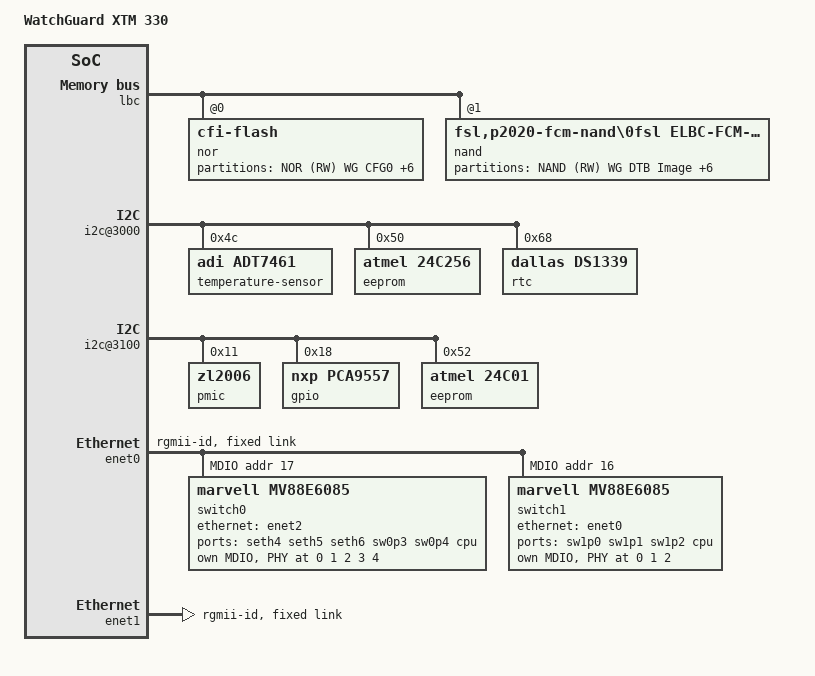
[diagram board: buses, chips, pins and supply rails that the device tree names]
// SPDX-License-Identifier: GPL-2.0-or-later

/dts-v1/;

/include/ "fsl/p2020si-pre.dtsi"

#include <dt-bindings/gpio/gpio.h>
#include <dt-bindings/input/input.h>

/ {
	model = "WatchGuard XTM 330";
	compatible = "fsl,P2020RDB";

	aliases {
		ethernet0 = &enet0;
		ethernet1 = &enet1;
		ethernet2 = &enet2;
		serial0 = &serial0;
		serial1 = &serial1;
		pci0 = &pci0;
		pci1 = &pci1;
	};

	memory {
		device_type = "memory";
	};

	lbc: localbus@ffe05000 {
		reg = <0 0xffe05000 0 0x1000>;

		/* NOR and NAND Flashes */
		ranges = <0x00 0x00 0x00 0xefe00000 0x200000 0x01 0x00 0x00 
			0xffa00000 0x40000>;

		nor@0,0 {
			#address-cells = <0x01>;
			#size-cells = <0x01>;
			
			compatible = "cfi-flash";
			reg = <0x00 0x00 0x200000>;
			bank-width = <0x02>;
			device-width = <0x01>;

			partition@00000000 {
				reg = <0x00 0x20000>;
				label = "NOR (RW) WG CFG0";
			};

			partition@00020000 {
				reg = <0x20000 0x10000>;
				label = "NOR (RW) WG CFG1";
			};

			partition@00030000 {
				reg = <0x30000 0x10000>;
				label = "NOR (RW) WG MFG DATA";
			};

			partition@00040000 {
				reg = <0x40000 0xb0000>;
				label = "NOR (RW) WG bootOpt Data & reserved";
			};

			partition@000F0000 {
				reg = <0xf0000 0x10000>;
				label = "NOR (RW) WG U-Boot ENV";
			};

			partition@00100000 {
				reg = <0x100000 0x80000>;
				label = "NOR (RW) WG U-Boot Image";
			};

			partition@00180000 {
				reg = <0x180000 0x80000>;
				label = "NOR (RW) WG U-Boot FAILSAFE";
			};
		};

		nand@1,0 {
			#address-cells = <0x01>;
			#size-cells = <0x01>;
			compatible = "fsl,p2020-fcm-nand\0fsl,elbc-fcm-nand";
			reg = <0x01 0x00 0x40000>;
			nand-ecc-mode = "none";
			nand-ecc-step-size = <512>;
			nand-ecc-strength  = <16>;

			partition@00000000 {
				reg = <0x00 0x20000>;
				label = "NAND (RW) WG DTB Image";
			};

			partition@00020000 {
				reg = <0x20000 0x500000>;
				label = "NAND (RW) WG SYSA Kernel";
			};

			partition@00520000 {
				reg = <0x520000 0x79e0000>;
				label = "NAND (RW) WG SYSA_CODE";
			};

			partition@07f00000 {
				reg = <0x7f00000 0x16000000>;
				label = "NAND (RW) WG SYSA_DATA";
			};

			partition@1df00000 {
				reg = <0x1df00000 0x500000>;
				label = "NAND (RW) WG SYSB Kernel";
			};

			partition@1e400000 {
				reg = <0x1e400000 0x1800000>;
				label = "NAND (RW) WG SYSB_CODE";
			};

			partition@1fc00000 {
				reg = <0x1fc00000 0x400000>;
				label = "NAND (RW) WG KDUMP";
			};
		};
	};

	soc: soc@ffe00000 {
		ranges = <0x0 0x0 0xffe00000 0x100000>;

		gpio0: gpio-controller@fc00 {
		};

		i2c@3000 {
			temperature-sensor@4c {
				compatible = "adi,adt7461";
				reg = <0x4c>;
			};

			eeprom@50 {
				compatible = "atmel,24c256";
				reg = <0x50>;
			};

			rtc@68 {
				compatible = "dallas,ds1339";
				reg = <0x68>;
			};
		};

		i2c@3100 {
			pmic@11 {
				compatible = "zl2006";
				reg = <0x11>;
			};

			gpio@18 {
				compatible = "nxp,pca9557";
				reg = <0x18>;
			};

			eeprom@52 {
				compatible = "atmel,24c01";
				reg = <0x52>;
			};
		};
		
		enet0: ethernet@24000 {
			#address-cells = <0x01>;
			#size-cells = <0x01>;
			cell-index = <0x00>;
			device_type = "network";
			model = "eTSEC";
			compatible = "gianfar";
			reg = <0x24000 0x1000>;
			ranges = <0x00 0x24000 0x1000>;
			phy-connection-type = "rgmii-id";
			fsl,magic-packet;
			
			fixed-link {
				speed = <1000>;
				full-duplex;
			};

			mdio@520 {
				#address-cells = <0x01>;
				#size-cells = <0x00>;
				compatible = "fsl,gianfar-mdio";
				reg = <0x520 0x20>;

				switch0: phy0: ethernet-phy@0 {
					compatible = "marvell,mv88e6085";
					reg = <0x11>;
					
					dsa,member = <0 0>;
					
					mdio {
						#address-cells = <1>;
						#size-cells = <0>;
	 
						switch0phy0: switch0phy0@0 {
							reg = <0x00>;
							interrupt-parent = <&switch0>;
						};
	 
						switch0phy1: switch0phy1@1 {
							reg = <0x01>;
							interrupt-parent = <&switch0>;
						};
	 
						 switch0phy2: switch0phy2@2 {
							reg = <0x02>;
							interrupt-parent = <&switch0>;
						 };

						 switch0phy3: switch0phy3@3 {
							reg = <0x03>;
							interrupt-parent = <&switch0>;
						 };

						 switch0phy4: switch0phy4@4 {
							reg = <0x04>;
							interrupt-parent = <&switch0>;
						 };
					};
					
					ports {
						port@0 {
							reg = <0>;
							label = "seth4";
							phy-handle = <&switch0phy0>;
						};

						port@1 {
							reg = <1>;
							label = "seth5";
							phy-handle = <&switch0phy1>;
						};

						port@2 {
							reg = <2>;
							label = "seth6";
							phy-handle = <&switch0phy2>;
						};

						port@3 {
							reg = <3>;
							label = "sw0p3";
							phy-handle = <&switch0phy3>;
						};

						port@4 {
							reg = <4>;
							label = "sw0p4";
							phy-handle = <&switch0phy4>;
						};

						switch0port6: port@6 {
							reg = <6>;
							label = "cpu";
							ethernet = <&enet2>;
							phy-mode = "rgmii-id";
							fixed-link {
								speed = <1000>;
								full-duplex;
							};
						};
					};
				};

				switch1: phy1: ethernet-phy@1 {
					compatible = "marvell,mv88e6085";
					reg = <0x10>;

					dsa,member = <1 0>;

					mdio {
						#address-cells = <1>;
						#size-cells = <0>;

						switch1phy0: switch1phy0@0 {
							reg = <0x00>;
							interrupt-parent = <&switch1>;
						};

						switch1phy1: switch1phy1@1 {
							reg = <0x01>;
							interrupt-parent = <&switch1>;
						};

						switch1phy2: switch1phy2@2 {
							reg = <0x02>;
							interrupt-parent = <&switch1>;
						};
					};

					ports {
						port@0 {
							reg = <0>;
							label = "sw1p0";
							phy-handle = <&switch1phy0>;
						};

						port@1 {
							reg = <1>;
							label = "sw1p1";
							phy-handle = <&switch1phy1>;
						};

						port@2 {
							reg = <2>;
							label = "sw1p2";
							phy-handle = <&switch1phy2>;
						};

						switch1port6: port@6 {
							reg = <6>;
							label = "cpu";
							ethernet = <&enet0>;
							phy-mode = "rgmii-td";
							fixed-link {
								speed = <1000>;
								full-duplex;
							};
						};
					};
				};
			};
		};
		
		ethernet@25000 {
			status = "disabled";
		};

		enet1: enet2: ethernet@26000 {
			#address-cells = <0x01>;
			#size-cells = <0x01>;
			cell-index = <0x02>;
			device_type = "network";
			model = "eTSEC";
			compatible = "gianfar";
			reg = <0x26000 0x1000>;
			ranges = <0x00 0x26000 0x1000>;
			phy-connection-type = "rgmii-id";
			fsl,magic-packet;
			fixed-link {
				speed = <1000>;
				full-duplex;
			};
		};

		usb@22000 {
			phy_type = "ulpi";
			dr_mode = "host";
		};

		ptp_clock@24e00 {
			fsl,tclk-period = <5>;
			fsl,tmr-prsc = <200>;
			fsl,tmr-add = <0xCCCCCCCD>;
			fsl,tmr-fiper1 = <0x3B9AC9FB>;
			fsl,tmr-fiper2 = <0x0001869B>;
			fsl,max-adj = <249999999>;
		};
		
		pic@40000 {
			interrupt-controller;
			#address-cells = <0x00>;
			#interrupt-cells = <0x04>;
			reg = <0x40000 0x40000>;
			compatible = "fsl,mpic";
			device_type = "open-pic";
			big-endian;
			single-cpu-affinity;
			last-interrupt-source = <0xff>;
			linux,phandle = <0x01>;
			phandle = <0x01>;
		};
		
		timer@41100 {
			compatible = "fsl,mpic-global-timer";
			reg = <0x41100 0x100 0x41300 0x04>;
			interrupts = <0x00 0x00 0x03 0x00 0x01 0x00 0x03 0x00 0x02 0x00 0x03 0x00 0x03 0x00 0x03 0x00>;
		};
		
		timer@42100 {
			compatible = "fsl,mpic-global-timer";
			reg = <0x42100 0x100 0x42300 0x04>;
			interrupts = <0x04 0x00 0x03 0x00 0x05 0x00 0x03 0x00 0x06 0x00 0x03 0x00 0x07 0x00 0x03 0x00>;
		};
	};

	pci0: pcie@ffe08000 {
		reg = <0 0xffe08000 0 0x1000>;
		status = "disabled";
	};

	pci1: pcie@ffe09000 {
		reg = <0 0xffe09000 0 0x1000>;
		ranges = <0x2000000 0x0 0xa0000000 0 0xa0000000 0x0 0x20000000
			  0x1000000 0x0 0x00000000 0 0xffc10000 0x0 0x10000>;
		pcie@0 {
			ranges = <0x2000000 0x0 0xa0000000
				  0x2000000 0x0 0xa0000000
				  0x0 0x20000000

				  0x1000000 0x0 0x0
				  0x1000000 0x0 0x0
				  0x0 0x100000>;
		};
	};

	pci2: pcie@ffe0a000 {
		reg = <0 0xffe0a000 0 0x1000>;
		ranges = <0x2000000 0x0 0x80000000 0 0x80000000 0x0 0x20000000
			  0x1000000 0x0 0x00000000 0 0xffc00000 0x0 0x10000>;
		pcie@0 {
			ranges = <0x2000000 0x0 0x80000000
				  0x2000000 0x0 0x80000000
				  0x0 0x20000000

				  0x1000000 0x0 0x0
				  0x1000000 0x0 0x0
				  0x0 0x100000>;
		};
	};
};

/include/ "fsl/p2020si-post.dtsi"
